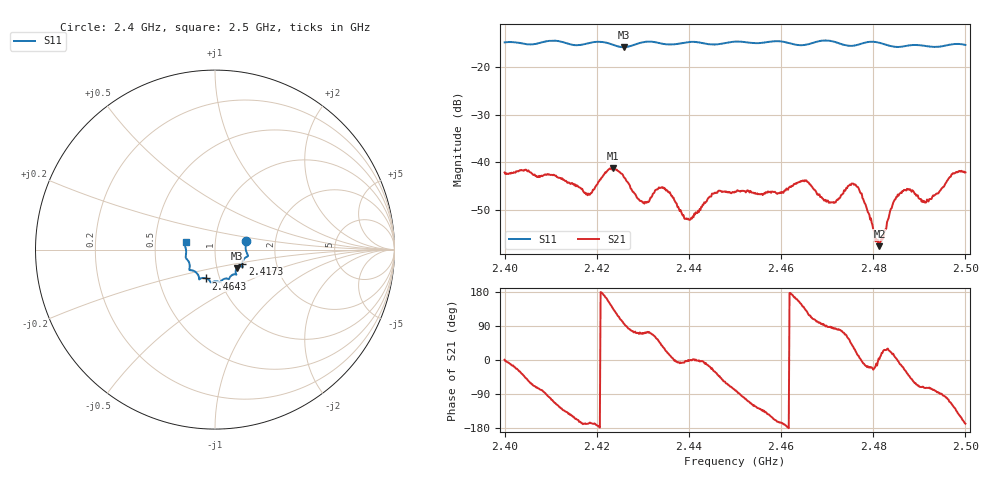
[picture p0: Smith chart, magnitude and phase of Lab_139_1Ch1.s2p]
# Hz S RI R 50
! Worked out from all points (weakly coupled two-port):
!   601 points, 2.4 GHz to 2.5 GHz, reference 50 ohm
!   highest |S21| = -41.24 dB at 2.4235 GHz (marker M1); lowest = -57.6 dB at 2.4813 GHz (marker M2)
!   lowest |S11| = -15.9 dB at 2.4258 GHz (marker M3), VSWR 1.38, Z = 62.4 - j13.3 ohm
!   |S11| at or under -10 dB: start of sweep to end of sweep
!   S12 and S22 are empty: the file has one direction only
!   S11 on the Smith chart (normalised r, x): 2.4 GHz: 1.41, +0.14; 2.4173 GHz: 1.34, -0.23; 2.4643 GHz: 0.86, -0.28; 2.5 GHz: 0.72, +0.06
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2.4e9  0.1728 0.0493  0.00782 0.000106  0 0  0 0
2.410667e9  0.1839 -0.0356  -0.00258 -0.00694  0 0  0 0
2.416667e9  0.1525 -0.0744  -0.00512 -0.00121  0 0  0 0
2.417333e9  0.1518 -0.0818  -0.00468 -0.000975  0 0  0 0
2.4235e9  0.1418 -0.0938  -0.00627 0.00599  0 0  0 0
2.425833e9  0.1222 -0.1035  -0.000792 0.007  0 0  0 0
2.429833e9  0.1171 -0.136  0.0014 0.00361  0 0  0 0
2.433333e9  0.1126 -0.1376  0.00327 0.00417  0 0  0 0
2.439833e9  0.0792 -0.1628  0.00257 1.85e-06  0 0  0 0
2.4455e9  0.0516 -0.1629  0.00411 -0.00239  0 0  0 0
2.45e9  0.0287 -0.1811  0.00086 -0.00485  0 0  0 0
2.4595e9  -0.0236 -0.1834  -0.00459 -0.00128  0 0  0 0
2.464333e9  -0.0499 -0.1605  -0.00542 0.00336  0 0  0 0
2.466667e9  -0.0759 -0.1591  -0.00207 0.00519  0 0  0 0
2.471167e9  -0.0877 -0.1622  0.000419 0.00377  0 0  0 0
2.476167e9  -0.1184 -0.1185  0.00536 0.0023  0 0  0 0
2.481333e9  -0.1422 -0.107  0.00132 5.22e-05  0 0  0 0
2.483333e9  -0.1405 -0.0897  0.00235 0.00112  0 0  0 0
2.4865e9  -0.1521 -0.0588  0.00471 -0.00166  0 0  0 0
2.4915e9  -0.1617 -0.0304  0.0011 -0.00365  0 0  0 0
2.4975e9  -0.17 0.0298  -0.00432 -0.00631  0 0  0 0
2.5e9  -0.1637 0.0426  -0.00767 -0.00164  0 0  0 0
